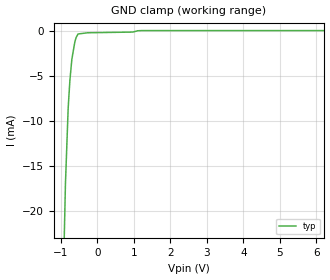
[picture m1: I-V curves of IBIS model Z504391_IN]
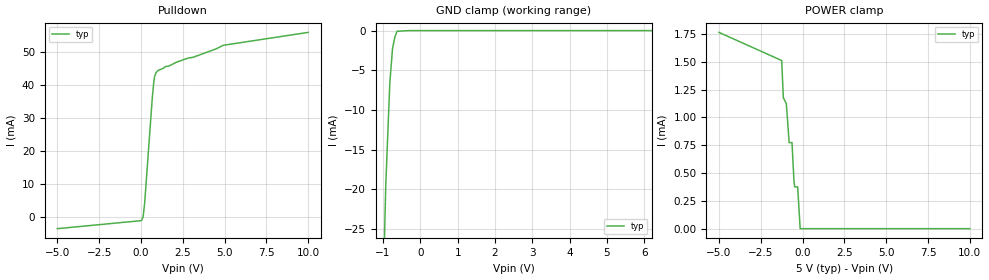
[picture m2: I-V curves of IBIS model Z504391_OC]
| YOU ARE ONLY AUTHORIZED TO USE THIS SOFTWARE
| ACCORDING TO LICENSOR'S LICENSE RESTRICTIONS.
[IBIS Ver] 3.1
[File Name] sn54ls15j.ibs
[File Rev] 2.0
[Source] Measured and created by ICX Technology
[Date] Friday 7/14/00 9:08:13 AM
[Copyright]
| (C) COPYRIGHT 1993-2000
| MENTOR GRAPHICS CORPORATION
| ICX STANDARD LIBRARY, ICX PROJECT MODELING,
| ICX CUSTOM MODELING, ICX VENDOR MODEL
| ALL RIGHTS RESERVED.
| THE FOLLOWING ARE TRADEMARKS OR SERVICE MARKS OF
| MENTOR GRAPHICS CORPORATION:ICX (R), ICX STANDARD
| LIBRARY(R), ICX PROJECT MODELING(R), ICX CUSTOM
| MODELING(R), qualityIBIS(TM), MODELVIEWER(TM),
| AND MODELEDITOR(TM)
| ALL COPIES OF SOFTWARE, INCLUDING BUT NOT LIMITED TO
| ANY MODIFICATIONS, ENHANCEMENTS OR DERIVATIVE WORKS,
| MUST CONTAIN ALL MENTOR GRAPHICS CORPORATION'S
| NOTICES AND LEGENDS, INCLUDING THOSE EMBEDDED IN
| SOFTWARE AND THOSE AFFIXED TO SOFTWARE MEDIUM
| AND CONTAINER, AS RECEIVED FROM MENTOR GRAPHICS
| CORPORATION.
|  ZAP Model Builder 2.7
[Component] SN54LS15J
[Manufacturer] OnSemiconductor
[Package]
| variable   typ   min   max
R_pkg  .21ohms NA NA
L_pkg  4.543nH NA NA
C_pkg  1.8pF NA NA
[Pin] signal_name  model_name  R_pin  L_pin C_pin
1 A Z504391_IN .22 6.757n 2.434p
2 B Z504391_IN .212 4.757n 1.941p
3 A Z504391_IN .204 3.257n 1.448p
4 B Z504391_IN .196 2.257n .955p
5 C Z504391_IN .204 3.257n 1.448p
6 Y Z504391_OC .212 4.757n 1.941p
7 GND GND .22 6.757n 2.434p
8 Y Z504391_OC .22 6.757n 2.434p
9 A Z504391_IN .212 4.757n 1.941p
10 B Z504391_IN .204 3.257n 1.448p
11 C Z504391_IN .196 2.257n .955p
12 Y Z504391_OC .204 3.257n 1.448p
13 C Z504391_IN .212 4.757n 1.941p
14 VCC POWER .22 6.757n 2.434p
| Models and submodels in the file (2): Z504391_IN (Input), Z504391_OC (Open_sink)
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| (C) COPYRIGHT 1993-2000
| MENTOR GRAPHICS CORPORATION
| ICX STANDARD LIBRARY, ICX PROJECT MODELING,
| ICX CUSTOM MODELING, ICX VENDOR MODEL
| ALL RIGHTS RESERVED.
| THE FOLLOWING ARE TRADEMARKS OR SERVICE MARKS OF
| MENTOR GRAPHICS CORPORATION:ICX (R), ICX STANDARD
| LIBRARY(R), ICX PROJECT MODELING(R), ICX CUSTOM
| MODELING(R), qualityIBIS(TM), MODELVIEWER(TM),
| AND MODELEDITOR(TM)
| ALL COPIES OF SOFTWARE, INCLUDING BUT NOT LIMITED TO
| ANY MODIFICATIONS, ENHANCEMENTS OR DERIVATIVE WORKS,
| MUST CONTAIN ALL MENTOR GRAPHICS CORPORATION'S
| NOTICES AND LEGENDS, INCLUDING THOSE EMBEDDED IN
| SOFTWARE AND THOSE AFFIXED TO SOFTWARE MEDIUM
| AND CONTAINER, AS RECEIVED FROM MENTOR GRAPHICS
| CORPORATION.
| Model Application Version 1.89 2/18/99.
[Model] Z504391_IN
Model_type Input
Vinl = 800.0mV
Vinh = 2.000V
C_comp 4.000pF NA NA
| variable typ   min   max
[Voltage Range] 5.000V NA NA
[GND Clamp Reference] 0.000V NA NA
[POWER Clamp Reference] 5.000V NA NA
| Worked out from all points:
|   GND clamp passes 1 mA (typ) near -0.60 V on its own axis
[GND Clamp]
-5V       -773.2mA   NA         NA
-874mV    -17.06mA   NA         NA
-799.3mV  -8.638mA   NA         NA
-752mV    -5.536mA   NA         NA
-698.2mV  -3.198mA   NA         NA
-615.2mV  -1.237mA   NA         NA
-581.1mV  -774.8uA   NA         NA
-527.3mV  -384.8uA   NA         NA
-263.7mV  -250.8uA   NA         NA
971.1mV   -173.4uA   NA         NA
1.208V    -8.231uA   NA         NA
10V       -8.231uA   NA         NA
[POWER Clamp]
-5V       0A         NA         NA
10V       0A         NA         NA
| (C) COPYRIGHT 1993-2000
| MENTOR GRAPHICS CORPORATION
| ICX STANDARD LIBRARY, ICX PROJECT MODELING,
| ICX CUSTOM MODELING, ICX VENDOR MODEL
| ALL RIGHTS RESERVED.
| THE FOLLOWING ARE TRADEMARKS OR SERVICE MARKS OF
| MENTOR GRAPHICS CORPORATION:ICX (R), ICX STANDARD
| LIBRARY(R), ICX PROJECT MODELING(R), ICX CUSTOM
| MODELING(R), qualityIBIS(TM), MODELVIEWER(TM),
| AND MODELEDITOR(TM)
| ALL COPIES OF SOFTWARE, INCLUDING BUT NOT LIMITED TO
| ANY MODIFICATIONS, ENHANCEMENTS OR DERIVATIVE WORKS,
| MUST CONTAIN ALL MENTOR GRAPHICS CORPORATION'S
| NOTICES AND LEGENDS, INCLUDING THOSE EMBEDDED IN
| SOFTWARE AND THOSE AFFIXED TO SOFTWARE MEDIUM
| AND CONTAINER, AS RECEIVED FROM MENTOR GRAPHICS
| CORPORATION.
| Model Application Version 1.89 2/18/99.
[Model] Z504391_OC
Model_type Open_sink
Vref=5.000V
Rref=2.001kohms
Cref=15.00pF
Vmeas=1.300V
C_comp 8.000pF NA NA
| variable typ   min   max
[Voltage Range] 5.000V NA NA
[POWER Clamp Reference] 5.000V NA NA
[Pullup Reference] 5.000V NA NA
[Pulldown Reference] 0.000V NA NA
[GND Clamp Reference] 0.000V NA NA
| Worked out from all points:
|   slope of the pulldown table from 0 to 0.75 V, typ, clamps not added: 18.4 ohm
|   GND clamp passes 1 mA (typ) near -0.69 V on its own axis
|   POWER clamp passes 1 mA (typ) near -0.91 V on its own axis
[GND Clamp]
-5V       -1.158A    NA         NA
-1.182V   -75.39mA   NA         NA
-1.04V    -41.01mA   NA         NA
-926.8mV  -19.37mA   NA         NA
-819.2mV  -6.617mA   NA         NA
-746mV    -2.253mA   NA         NA
-683.6mV  -821uA     NA         NA
-625mV    -88.26uA   NA         NA
-312.5mV  0A         NA         NA
10V       0A         NA         NA
[Pulldown]
-5V       -3.419mA   NA         NA
48.83mV   -851.8uA   NA         NA
131.8mV   194.1uA    NA         NA
224.6mV   4.42mA     NA         NA
686.1mV   36.51mA    NA         NA
763.5mV   40.55mA    NA         NA
820.3mV   42.57mA    NA         NA
898.3mV   43.64mA    NA         NA
1.02V     44.31mA    NA         NA
2.11V     46.78mA    NA         NA
4.921V    51.92mA    NA         NA
10V       55.81mA    NA         NA
[POWER Clamp]
-5V       1.765mA    NA         NA
-1.25V    1.512mA    NA         NA
-1.152V   1.177mA    NA         NA
-973mV    1.124mA    NA         NA
-803.5mV  773.9uA    NA         NA
-634mV    773.9uA    NA         NA
-518mV    432.7uA    NA         NA
-474mV    376.4uA    NA         NA
-293mV    375.1uA    NA         NA
-146.5mV  0A         NA         NA
10V       0A         NA         NA
[Ramp]
| variable typ min max
dV/dt_r 2.745/14.59n NA NA
dV/dt_f 2.745/4.561n NA NA
R_load = 250.0Ohms
